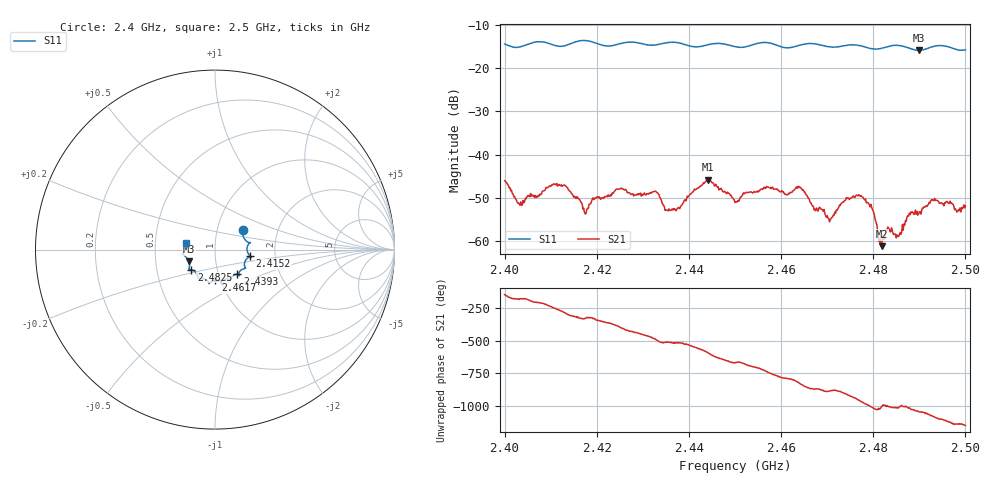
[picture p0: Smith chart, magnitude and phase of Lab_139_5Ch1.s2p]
# Hz S RI R 50
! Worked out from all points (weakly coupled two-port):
!   601 points, 2.4 GHz to 2.5 GHz, reference 50 ohm
!   highest |S21| = -45.83 dB at 2.4442 GHz (marker M1); lowest = -61.2 dB at 2.4818 GHz (marker M2)
!   lowest |S11| = -15.9 dB at 2.4898 GHz (marker M3), VSWR 1.38, Z = 36.9 - j4.93 ohm
!   |S11| at or under -10 dB: start of sweep to end of sweep
!   S12 and S22 are empty: the file has one direction only
!   S11 on the Smith chart (normalised r, x): 2.4 GHz: 1.33, +0.30; 2.4152 GHz: 1.48, -0.11; 2.4393 GHz: 1.23, -0.35; 2.4617 GHz: 0.95, -0.33; 2.4825 GHz: 0.75, -0.17; 2.5 GHz: 0.72, +0.05
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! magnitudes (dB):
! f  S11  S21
! 2.4 GHz  -14.4  -46.1
! 2.4033 GHz  -15.1  -51.7
! 2.4108 GHz  -14.8  -46.8
! 2.4152 GHz  -14.0  -49.7
! 2.4167 GHz  -13.6  -51.1
! 2.4333 GHz  -14.5  -49.0
! 2.4353 GHz  -14.1  -52.9
! 2.4393 GHz  -14.6  -50.7
! 2.4442 GHz  -14.6  -45.8
! 2.45 GHz  -15.0  -51.1
! 2.4617 GHz  -15.3  -49.0
! 2.4642 GHz  -14.7  -47.7
! 2.4667 GHz  -14.3  -51.7
! 2.4707 GHz  -15.1  -55.1
! 2.4773 GHz  -14.9  -49.5
! 2.4797 GHz  -15.5  -52.2
! 2.4818 GHz  -15.4  -61.2
! 2.4825 GHz  -15.2  -59.2
! 2.4833 GHz  -15.0  -57.0
! 2.4855 GHz  -14.8  -59.0
! 2.4898 GHz  -15.9  -53.7
! 2.5 GHz  -15.8  -51.9
